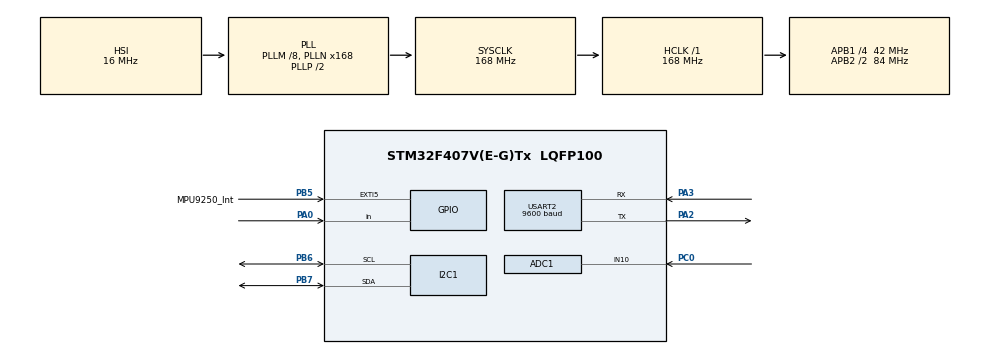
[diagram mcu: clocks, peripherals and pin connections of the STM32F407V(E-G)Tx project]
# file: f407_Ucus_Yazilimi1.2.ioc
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ADC1.Channel-0\#ChannelRegularConversion=ADC_CHANNEL_10
ADC1.NbrOfConversionFlag=1
ADC1.Rank-0\#ChannelRegularConversion=1
ADC1.SamplingTime-0\#ChannelRegularConversion=ADC_SAMPLETIME_3CYCLES
ADC1.master=1
I2C1.I2C_Mode=I2C_Fast
Mcu.Family=STM32F4
Mcu.Name=STM32F407V(E-G)Tx
Mcu.Package=LQFP100
NVIC.EXTI9_5_IRQn=true\:0\:0\:false\:false\:true\:true\:true\:true
NVIC.PriorityGroup=NVIC_PRIORITYGROUP_4
NVIC.TIM8_BRK_TIM12_IRQn=true\:0\:0\:false\:false\:true\:true\:true\:true
NVIC.USART2_IRQn=true\:0\:0\:false\:false\:true\:true\:true\:true
PA0-WKUP.GPIO_PuPd=GPIO_PULLDOWN
PA0-WKUP.Signal=GPIO_Input
PA2.Mode=Asynchronous
PA2.Signal=USART2_TX
PA3.Mode=Asynchronous
PA3.Signal=USART2_RX
PB5.GPIO_Label=MPU9250_Int
PB5.Signal=GPXTI5
PB6.Mode=I2C
PB6.Signal=I2C1_SCL
PB7.Mode=I2C
PB7.Signal=I2C1_SDA
PC0.Signal=ADCx_IN10
ProjectManager.HeapSize=0x200
ProjectManager.StackSize=0x400
ProjectManager.TargetToolchain=STM32CubeIDE
RCC.48MHZClocksFreq_Value=84000000
RCC.AHBFreq_Value=168000000
RCC.APB1CLKDivider=RCC_HCLK_DIV4
RCC.APB1Freq_Value=42000000
RCC.APB1TimFreq_Value=84000000
RCC.APB2CLKDivider=RCC_HCLK_DIV2
RCC.APB2Freq_Value=84000000
RCC.APB2TimFreq_Value=168000000
RCC.CortexFreq_Value=168000000
RCC.HCLKFreq_Value=168000000
RCC.HSE_VALUE=25000000
RCC.HSI_VALUE=16000000
RCC.LSE_VALUE=32768
RCC.PLLM=8
RCC.PLLN=168
RCC.SYSCLKFreq_VALUE=168000000
RCC.SYSCLKSource=RCC_SYSCLKSOURCE_PLLCLK
RCC.VCOOutputFreq_Value=336000000
SH.ADCx_IN10.0=ADC1_IN10,IN10
TIM12.AutoReloadPreload=TIM_AUTORELOAD_PRELOAD_ENABLE
TIM12.Period=5000-1
TIM12.Prescaler=84-1
TIM2.AutoReloadPreload=TIM_AUTORELOAD_PRELOAD_ENABLE
TIM2.Prescaler=84-1
USART2.BaudRate=9600
USART2.VirtualMode=VM_ASYNC
VP_TIM12_VS_ClockSourceINT.Mode=Internal
VP_TIM2_VS_ClockSourceINT.Mode=Internal
VP_TIM3_VS_ClockSourceINT.Mode=Internal
VP_TIM4_VS_ClockSourceINT.Mode=Internal
board=custom

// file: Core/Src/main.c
/* USER CODE BEGIN Header */
/**
  ******************************************************************************
  * @file           : main.c
  * @brief          : Main program body
  ******************************************************************************
  * @attention
  *
  * Copyright (c) 2026 STMicroelectronics.
  * All rights reserved.
  *
  * This software is licensed under terms that can be found in the LICENSE file
  * in the root directory of this software component.
  * If no LICENSE file comes with this software, it is provided AS-IS.
  *
  ******************************************************************************
  */
/* USER CODE END Header */
#include "main.h"

/* USER CODE BEGIN Includes */
#include "M0.0_DataCenter.h"
#include "Sensor_Kodlari.h"
#include "Eylem_Bloklari.h"
#include "M3.1_Calibration.h"

#include "M3.0_FilterSystem.h"
#include "M3.2_Attitude.h"
#include "M3.3_Yaw.h"
/* USER CODE END Includes */

/* USER CODE BEGIN PTD */
DataCenter DC;
/* USER CODE END PTD */

ADC_HandleTypeDef hadc1;

I2C_HandleTypeDef hi2c1;

TIM_HandleTypeDef htim2;
TIM_HandleTypeDef htim3;
TIM_HandleTypeDef htim4;
TIM_HandleTypeDef htim12;

UART_HandleTypeDef huart2;

/* USER CODE BEGIN PV */
uint8_t watchdog=0;
uint8_t akis_yonlendiricisi=0;

uint8_t TelemetriTimer = 0;
uint8_t SensorTimer = 0;

uint32_t kestirimTimerLastMicro = 0;

/* USER CODE END PV */

void SystemClock_Config(void);
static void MX_GPIO_Init(void);
static void MX_TIM2_Init(void);
static void MX_I2C1_Init(void);
static void MX_USART2_UART_Init(void);
static void MX_TIM12_Init(void);
static void MX_TIM3_Init(void);
static void MX_TIM4_Init(void);
static void MX_ADC1_Init(void);
/* USER CODE BEGIN PFP */
uint32_t getMicros(void);
/* USER CODE END PFP */

int main(void)
{

  /* MCU Configuration--------------------------------------------------------*/

  /* Reset of all peripherals, Initializes the Flash interface and the Systick. */
  HAL_Init();

  /* Configure the system clock */
  SystemClock_Config();

  /* Initialize all configured peripherals */
  MX_GPIO_Init();
  MX_TIM2_Init();
  MX_I2C1_Init();
  MX_USART2_UART_Init();
  MX_TIM12_Init();
  MX_TIM3_Init();
  MX_TIM4_Init();
  MX_ADC1_Init();
  /* USER CODE BEGIN 2 */
  HAL_TIM_Base_Start(&htim2);

  FilterSystem_Init(&DC);

  kestirimTimerLastMicro = getMicros();

  HAL_TIM_Base_Start(&htim12);
  HAL_TIM_Base_Start_IT(&htim12);

  Sensors_Init(&hi2c1, &huart2, MPU9250_Int_Pin);

  static uint32_t calibmenusayac=0;
  while(HAL_GPIO_ReadPin(GPIOA, GPIO_PIN_0)==0){calibmenusayac = HAL_GetTick(); watchdog=1;}
  while(HAL_GPIO_ReadPin(GPIOA, GPIO_PIN_0)==1){watchdog=2;}
  if(HAL_GetTick()-calibmenusayac <= 1000){
	  akis_yonlendiricisi=0;
  }

  else if(HAL_GetTick()-calibmenusayac > 1000){
	  akis_yonlendiricisi=20;
  }

HAL_Delay(500);
watchdog=10;

  /* USER CODE END 2 */

  /* Infinite loop */
  while (1)
  {

    /* USER CODE BEGIN 3 */

	  TelemetriFonksiyonu(TelemetriTimer);
	  SensorleriOku(&DC,getMicros());

	  switch(akis_yonlendiricisi){

	  case 0:
		  TelemetriTimer=1;
		  VideoFunction(1);
		  SensorTimer=1;
		  akis_yonlendiricisi=1;
		  break;

	  case 1:
		  /*if(FallingStart(&datacenter, getMicros())==1){
			  akis_yonlendiricisi=2;
		  }*/
		  break;

	  case 2:
		  /*if(AyrilmaliMi(&datacenter, getMicros())==1){
			  Ayril();
			  akis_yonlendiricisi=3;
		  }*/
		  break;

	  case 3:
		  /*if(AyrildiMi(&datacenter, getMicros())==1){
			  SigmaAc();
			  //MotorArm();
			  PidHedefYukseklik(HOVER_YUKSEKLIGI_m);
			  akis_yonlendiricisi=4;
		  }*/
		  break;

	  case 4:
		  //SigmaKontrolBlogu
		  /*if(ApamAcilmaliMi(&datacenter, getMicros())==1){
			  ApamAc();
			  akis_yonlendiricisi=8;
			  break;
		  }
		  if(HoverStart(&datacenter, getMicros())==1){

		  }
		  if(HoverExit(&datacenter, getMicros())==1){
			  PidHedefYukseklik(YERE_INIS_YUKSEKLIGI_m);
		  }
		  if(FallingStop(&datacenter, getMicros())==1){
			  //MotorStop();
			  VideoFunction(0);
			  akis_yonlendiricisi=5;
		  }*/
		  break;

	  case 5:
		  if(Buzzer(10000)==1){
			  TelemetriTimer=0;
			  SensorTimer=0;
			  akis_yonlendiricisi=6;
		  }
		  break;

	  case 8:
		  /*if(FallingStop(&datacenter, getMicros())==1){
			  VideoFunction(0);
			  akis_yonlendiricisi=5;
		  }*/
		  break;

	  case 20:
		  watchdog=20;
		  M3_1_Calibration_Reset();
		  calibmenusayac = HAL_GetTick();
		  akis_yonlendiricisi=21;

		  break;

	  case 21:
		  watchdog=21;
		  M3_1_Calibration_Accumulate(&DC);
		  if(HAL_GetTick() - calibmenusayac > 5000){
			  akis_yonlendiricisi=22;
		  }
		  break;

	  case 22:
		  watchdog=22;
		  HAL_NVIC_DisableIRQ(TIM8_BRK_TIM12_IRQn); // Kesmeyi durdur
		  M3_1_Calibration_Calculate(&DC);
		  FilterSystem_Init(&DC);
		  HAL_NVIC_EnableIRQ(TIM8_BRK_TIM12_IRQn);  // İşlem bitince tekrar aç
		  akis_yonlendiricisi = 50;
		  break;

	  case 50:
		  watchdog=23;
		  break;
	  }

  }

  /* USER CODE END 3 */
}

void SystemClock_Config(void)
{
  RCC_OscInitTypeDef RCC_OscInitStruct = {0};
  RCC_ClkInitTypeDef RCC_ClkInitStruct = {0};

  /** Configure the main internal regulator output voltage
  */
  __HAL_RCC_PWR_CLK_ENABLE();
  __HAL_PWR_VOLTAGESCALING_CONFIG(PWR_REGULATOR_VOLTAGE_SCALE1);

  /** Initializes the RCC Oscillators according to the specified parameters
  * in the RCC_OscInitTypeDef structure.
  */
  RCC_OscInitStruct.OscillatorType = RCC_OSCILLATORTYPE_HSI;
  RCC_OscInitStruct.HSIState = RCC_HSI_ON;
  RCC_OscInitStruct.HSICalibrationValue = RCC_HSICALIBRATION_DEFAULT;
  RCC_OscInitStruct.PLL.PLLState = RCC_PLL_ON;
  RCC_OscInitStruct.PLL.PLLSource = RCC_PLLSOURCE_HSI;
  RCC_OscInitStruct.PLL.PLLM = 8;
  RCC_OscInitStruct.PLL.PLLN = 168;
  RCC_OscInitStruct.PLL.PLLP = RCC_PLLP_DIV2;
  RCC_OscInitStruct.PLL.PLLQ = 4;
  if (HAL_RCC_OscConfig(&RCC_OscInitStruct) != HAL_OK)
  {
    Error_Handler();
  }

  /** Initializes the CPU, AHB and APB buses clocks
  */
  RCC_ClkInitStruct.ClockType = RCC_CLOCKTYPE_HCLK|RCC_CLOCKTYPE_SYSCLK
                              |RCC_CLOCKTYPE_PCLK1|RCC_CLOCKTYPE_PCLK2;
  RCC_ClkInitStruct.SYSCLKSource = RCC_SYSCLKSOURCE_PLLCLK;
  RCC_ClkInitStruct.AHBCLKDivider = RCC_SYSCLK_DIV1;
  RCC_ClkInitStruct.APB1CLKDivider = RCC_HCLK_DIV4;
  RCC_ClkInitStruct.APB2CLKDivider = RCC_HCLK_DIV2;

  if (HAL_RCC_ClockConfig(&RCC_ClkInitStruct, FLASH_LATENCY_5) != HAL_OK)
  {
    Error_Handler();
  }
}

static void MX_ADC1_Init(void)
{

  ADC_ChannelConfTypeDef sConfig = {0};

  /** Configure the global features of the ADC (Clock, Resolution, Data Alignment and number of conversion)
  */
  hadc1.Instance = ADC1;
  hadc1.Init.ClockPrescaler = ADC_CLOCK_SYNC_PCLK_DIV4;
  hadc1.Init.Resolution = ADC_RESOLUTION_12B;
  hadc1.Init.ScanConvMode = DISABLE;
  hadc1.Init.ContinuousConvMode = DISABLE;
  hadc1.Init.DiscontinuousConvMode = DISABLE;
  hadc1.Init.ExternalTrigConvEdge = ADC_EXTERNALTRIGCONVEDGE_NONE;
  hadc1.Init.ExternalTrigConv = ADC_SOFTWARE_START;
  hadc1.Init.DataAlign = ADC_DATAALIGN_RIGHT;
  hadc1.Init.NbrOfConversion = 1;
  hadc1.Init.DMAContinuousRequests = DISABLE;
  hadc1.Init.EOCSelection = ADC_EOC_SINGLE_CONV;
  if (HAL_ADC_Init(&hadc1) != HAL_OK)
  {
    Error_Handler();
  }

  /** Configure for the selected ADC regular channel its corresponding rank in the sequencer and its sample time.
  */
  sConfig.Channel = ADC_CHANNEL_10;
  sConfig.Rank = 1;
  sConfig.SamplingTime = ADC_SAMPLETIME_3CYCLES;
  if (HAL_ADC_ConfigChannel(&hadc1, &sConfig) != HAL_OK)
  {
    Error_Handler();
  }

}

static void MX_I2C1_Init(void)
{

  hi2c1.Instance = I2C1;
  hi2c1.Init.ClockSpeed = 400000;
  hi2c1.Init.DutyCycle = I2C_DUTYCYCLE_2;
  hi2c1.Init.OwnAddress1 = 0;
  hi2c1.Init.AddressingMode = I2C_ADDRESSINGMODE_7BIT;
  hi2c1.Init.DualAddressMode = I2C_DUALADDRESS_DISABLE;
  hi2c1.Init.OwnAddress2 = 0;
  hi2c1.Init.GeneralCallMode = I2C_GENERALCALL_DISABLE;
  hi2c1.Init.NoStretchMode = I2C_NOSTRETCH_DISABLE;
  if (HAL_I2C_Init(&hi2c1) != HAL_OK)
  {
    Error_Handler();
  }

}

static void MX_TIM2_Init(void)
{

  TIM_ClockConfigTypeDef sClockSourceConfig = {0};
  TIM_MasterConfigTypeDef sMasterConfig = {0};

  htim2.Instance = TIM2;
  htim2.Init.Prescaler = 84-1;
  htim2.Init.CounterMode = TIM_COUNTERMODE_UP;
  htim2.Init.Period = 4294967295;
  htim2.Init.ClockDivision = TIM_CLOCKDIVISION_DIV1;
  htim2.Init.AutoReloadPreload = TIM_AUTORELOAD_PRELOAD_ENABLE;
  if (HAL_TIM_Base_Init(&htim2) != HAL_OK)
  {
    Error_Handler();
  }
  sClockSourceConfig.ClockSource = TIM_CLOCKSOURCE_INTERNAL;
  if (HAL_TIM_ConfigClockSource(&htim2, &sClockSourceConfig) != HAL_OK)
  {
    Error_Handler();
  }
  sMasterConfig.MasterOutputTrigger = TIM_TRGO_RESET;
  sMasterConfig.MasterSlaveMode = TIM_MASTERSLAVEMODE_DISABLE;
  if (HAL_TIMEx_MasterConfigSynchronization(&htim2, &sMasterConfig) != HAL_OK)
  {
    Error_Handler();
  }

}

static void MX_TIM3_Init(void)
{

  TIM_ClockConfigTypeDef sClockSourceConfig = {0};
  TIM_MasterConfigTypeDef sMasterConfig = {0};

  htim3.Instance = TIM3;
  htim3.Init.Prescaler = 0;
  htim3.Init.CounterMode = TIM_COUNTERMODE_UP;
  htim3.Init.Period = 65535;
  htim3.Init.ClockDivision = TIM_CLOCKDIVISION_DIV1;
  htim3.Init.AutoReloadPreload = TIM_AUTORELOAD_PRELOAD_DISABLE;
  if (HAL_TIM_Base_Init(&htim3) != HAL_OK)
  {
    Error_Handler();
  }
  sClockSourceConfig.ClockSource = TIM_CLOCKSOURCE_INTERNAL;
  if (HAL_TIM_ConfigClockSource(&htim3, &sClockSourceConfig) != HAL_OK)
  {
    Error_Handler();
  }
  sMasterConfig.MasterOutputTrigger = TIM_TRGO_RESET;
  sMasterConfig.MasterSlaveMode = TIM_MASTERSLAVEMODE_DISABLE;
  if (HAL_TIMEx_MasterConfigSynchronization(&htim3, &sMasterConfig) != HAL_OK)
  {
    Error_Handler();
  }

}

static void MX_TIM4_Init(void)
{

  TIM_ClockConfigTypeDef sClockSourceConfig = {0};
  TIM_MasterConfigTypeDef sMasterConfig = {0};

  htim4.Instance = TIM4;
  htim4.Init.Prescaler = 0;
  htim4.Init.CounterMode = TIM_COUNTERMODE_UP;
  htim4.Init.Period = 65535;
  htim4.Init.ClockDivision = TIM_CLOCKDIVISION_DIV1;
  htim4.Init.AutoReloadPreload = TIM_AUTORELOAD_PRELOAD_DISABLE;
  if (HAL_TIM_Base_Init(&htim4) != HAL_OK)
  {
    Error_Handler();
  }
  sClockSourceConfig.ClockSource = TIM_CLOCKSOURCE_INTERNAL;
  if (HAL_TIM_ConfigClockSource(&htim4, &sClockSourceConfig) != HAL_OK)
  {
    Error_Handler();
  }
  sMasterConfig.MasterOutputTrigger = TIM_TRGO_RESET;
  sMasterConfig.MasterSlaveMode = TIM_MASTERSLAVEMODE_DISABLE;
  if (HAL_TIMEx_MasterConfigSynchronization(&htim4, &sMasterConfig) != HAL_OK)
  {
    Error_Handler();
  }

}

static void MX_TIM12_Init(void)
{

  TIM_ClockConfigTypeDef sClockSourceConfig = {0};

  htim12.Instance = TIM12;
  htim12.Init.Prescaler = 84-1;
  htim12.Init.CounterMode = TIM_COUNTERMODE_UP;
  htim12.Init.Period = 5000-1;
  htim12.Init.ClockDivision = TIM_CLOCKDIVISION_DIV1;
  htim12.Init.AutoReloadPreload = TIM_AUTORELOAD_PRELOAD_ENABLE;
  if (HAL_TIM_Base_Init(&htim12) != HAL_OK)
  {
    Error_Handler();
  }
  sClockSourceConfig.ClockSource = TIM_CLOCKSOURCE_INTERNAL;
  if (HAL_TIM_ConfigClockSource(&htim12, &sClockSourceConfig) != HAL_OK)
  {
    Error_Handler();
  }

}

static void MX_USART2_UART_Init(void)
{

  huart2.Instance = USART2;
  huart2.Init.BaudRate = 9600;
  huart2.Init.WordLength = UART_WORDLENGTH_8B;
  huart2.Init.StopBits = UART_STOPBITS_1;
  huart2.Init.Parity = UART_PARITY_NONE;
  huart2.Init.Mode = UART_MODE_TX_RX;
  huart2.Init.HwFlowCtl = UART_HWCONTROL_NONE;
  huart2.Init.OverSampling = UART_OVERSAMPLING_16;
  if (HAL_UART_Init(&huart2) != HAL_OK)
  {
    Error_Handler();
  }

}

static void MX_GPIO_Init(void)
{
  GPIO_InitTypeDef GPIO_InitStruct = {0};

  /* GPIO Ports Clock Enable */
  __HAL_RCC_GPIOC_CLK_ENABLE();
  __HAL_RCC_GPIOA_CLK_ENABLE();
  __HAL_RCC_GPIOB_CLK_ENABLE();

  /*Configure GPIO pin : PA0 */
  GPIO_InitStruct.Pin = GPIO_PIN_0;
  GPIO_InitStruct.Mode = GPIO_MODE_INPUT;
  GPIO_InitStruct.Pull = GPIO_PULLDOWN;
  HAL_GPIO_Init(GPIOA, &GPIO_InitStruct);

  /*Configure GPIO pin : MPU9250_Int_Pin */
  GPIO_InitStruct.Pin = MPU9250_Int_Pin;
  GPIO_InitStruct.Mode = GPIO_MODE_IT_RISING;
  GPIO_InitStruct.Pull = GPIO_NOPULL;
  HAL_GPIO_Init(MPU9250_Int_GPIO_Port, &GPIO_InitStruct);

  /* EXTI interrupt init*/
  HAL_NVIC_SetPriority(EXTI9_5_IRQn, 0, 0);
  HAL_NVIC_EnableIRQ(EXTI9_5_IRQn);

}

/* USER CODE BEGIN 4 */
uint32_t getMicros()
{
    // Doğrudan Timer'ın o anki sayıcı değerini (CNT) döndürür
    return __HAL_TIM_GET_COUNTER(&htim2);
}

void HAL_GPIO_EXTI_Callback(uint16_t GPIO_Pin)
{
	MPU9250_Int_Fonksiyonu(GPIO_Pin);

}

void HAL_UART_RxCpltCallback(UART_HandleTypeDef *huart)
{
	GPS_Uart_Int_Fonksiyonu(huart);
}

void HAL_TIM_PeriodElapsedCallback(TIM_HandleTypeDef *htim)
{
    if (htim->Instance == TIM12)
    {
    	//kestirim
    	//pid hesabı
    	float dt = ((float)(getMicros() - kestirimTimerLastMicro))/1000000.0f;
    	if(dt<=0.0f || dt>=1.0f){
    		dt=0.002f;
    	}
    	kestirimTimerLastMicro = getMicros();

    	DC.acc.calibrated_x = (DC.acc.raw_x - DC.calibProfile.acc_bias_x) * DC.calibProfile.acc_scale_x;
    	DC.acc.calibrated_y = (DC.acc.raw_y - DC.calibProfile.acc_bias_y) * DC.calibProfile.acc_scale_y;
    	DC.acc.calibrated_z = (DC.acc.raw_z - DC.calibProfile.acc_bias_z) * DC.calibProfile.acc_scale_z;

		// Jiroskop
    	DC.gyro.calibrated_x = (DC.gyro.raw_x - DC.calibProfile.gyro_bias_x) * DC.calibProfile.gyro_scale_x;
    	DC.gyro.calibrated_y = (DC.gyro.raw_y - DC.calibProfile.gyro_bias_y) * DC.calibProfile.gyro_scale_y;
    	DC.gyro.calibrated_z = (DC.gyro.raw_z - DC.calibProfile.gyro_bias_z) * DC.calibProfile.gyro_scale_z;

		// Manyetometre
    	DC.mag.calibrated_x = (DC.mag.raw_x - DC.calibProfile.mag_bias_x) * DC.calibProfile.mag_scale_x;
    	DC.mag.calibrated_y = (DC.mag.raw_y - DC.calibProfile.mag_bias_y) * DC.calibProfile.mag_scale_y;
    	DC.mag.calibrated_z = (DC.mag.raw_z - DC.calibProfile.mag_bias_z) * DC.calibProfile.mag_scale_z;

    	// 3. Yönelim (Attitude) Filtresini (EKF) Çalıştır
		// EKF, düzeltilmiş ivme ve jiroskop verilerini kullanarak sadece kuaterniyonları (q0-q3) hesaplar.
		FilterSystem_Update(&DC, dt);

		// 4. Kuaterniyonlardan Pitch ve Roll (Yunuslama/Yuvarlanma) açılarını bul
		M3_2_Attitude_Update(&DC);

		// 5. Yaw (Pusula) açısını bul (Pitch ve Roll verisine ihtiyaç duyar)
		M3_3_Yaw_Update(&DC, dt);

		// 4. (Gelecekte) Yükseklik Filtresi (1D EKF) ve Konum Filtresi burada çalıştırılacak

		// 5. (Gelecekte) PID Kontrolcüsü burada çalışacak ve motor PWM'leri güncellenecek

    }
}
/* USER CODE END 4 */

void Error_Handler(void)
{
  __disable_irq();
  while (1)
  {
  }
}
